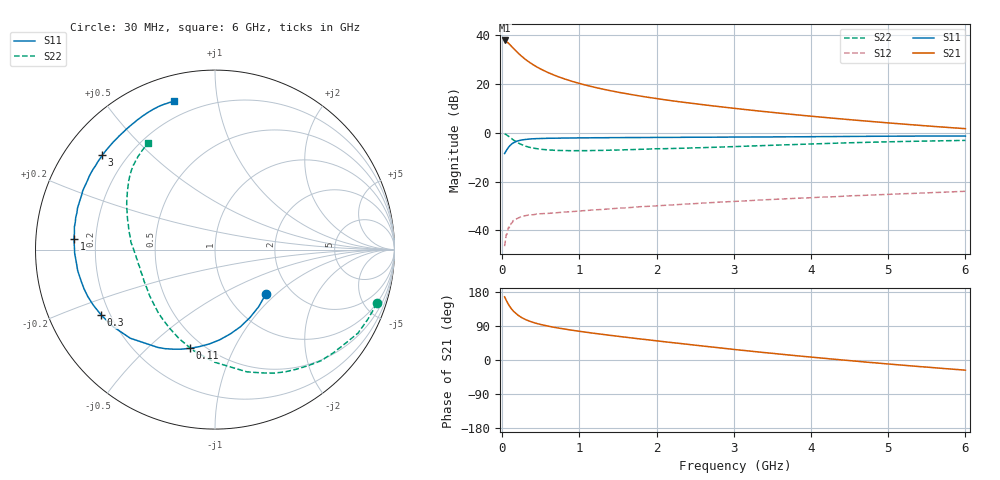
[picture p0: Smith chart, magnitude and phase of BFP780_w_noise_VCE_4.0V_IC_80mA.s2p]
! Infineon Technologies  Discrete & RF Semiconductors
! BFP780
! VCE =  4.0 V,  IC =  80 mA
! Common Emitter S-Parameters:  Jul 2015
# GHz  S  MA  R  50
!  f  S11  S21  S12  S22
! GHz  MAG  ANG  MAG  ANG  MAG  ANG  MAG  ANG
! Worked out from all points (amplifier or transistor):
!   75 points, 30 MHz to 6 GHz, reference 50 ohm
!   highest |S21| = 38.0 dB at 30 MHz (marker M1)
!   |S21| within 3 dB of that: start of sweep to 136.5 MHz
!   unconditionally stable (mu >= 1): 1.762 GHz to end of sweep
!   at 150 MHz: K = 0.17, MSG = 35.2 dB, |S12| = -35.9 dB
!   at 2.3 GHz: K = 1.12, MAG = 19.0 dB, |S12| = -29.4 dB
!   at 6 GHz: K = 1.22, MAG = 10.0 dB, |S12| = -24.0 dB
!   lowest NFmin = 1.80 dB at 450 MHz
!   S11 on the Smith chart (normalised r, x): 30 MHz: 1.49, -0.86; 110 MHz: 0.42, -0.69; 300 MHz: 0.17, -0.26; 1 GHz: 0.12, +0.04; 3 GHz: 0.11, +0.36; 6 GHz: 0.12, +0.75
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0.03  0.3766 -41.3  79.02 166.7  0.0047 77.1  0.9511 -18.3
0.05  0.4258 -62.8  75.72 157.9  0.0081 67.9  0.9225 -30.3
0.07  0.4767 -79.5  71.49 150.3  0.0096 62.8  0.8749 -41.1
0.09  0.5257 -93.2  66.74 143.4  0.0112 56.2  0.8298 -51.1
0.11  0.5675 -104.2  61.93 137.4  0.0132 50.0  0.785 -60.2
0.15  0.6312 -120.3  53.17 127.7  0.0161 45.2  0.7038 -75.4
0.2  0.6831 -133.7  44.24 118.8  0.0176 38.8  0.6263 -90.5
0.25  0.7126 -143.1  37.52 112.0  0.0191 33.6  0.5738 -102.4
0.3  0.7316 -150.1  32.26 106.8  0.0199 30.3  0.5342 -112.1
0.4  0.7553 -159.7  25.04 99.2  0.0208 27.9  0.4863 -126.6
0.5  0.7655 -166.3  20.36 93.6  0.0218 26.3  0.4599 -136.8
0.6  0.7739 -171.2  17.1 89.1  0.0222 25.1  0.4458 -144.8
0.8  0.7822 -178.6  12.9 81.9  0.0236 24.6  0.4327 -155.9
1  0.7887 175.7  10.33 75.7  0.0248 25.9  0.431 -163.7
1.1  0.7885 173.3  9.373 72.9  0.0255 26.2  0.4308 -167.0
1.5  0.7963 165.0  6.841 62.6  0.0283 27.8  0.4437 -176.4
2.1  0.8067 154.5  4.796 48.2  0.0324 28.7  0.4724 173.6
3  0.819 140.1  3.198 27.9  0.039 28.0  0.5216 159.4
3.1  0.8199 138.7  3.069 25.8  0.0397 27.9  0.5281 157.9
4.1  0.8352 124.8  2.126 5.8  0.0475 24.5  0.597 144.4
5.1  0.8545 113.6  1.556 -12.2  0.0554 20.1  0.659 132.7
6  0.8581 105.5  1.218 -26.8  0.063 14.8  0.6997 122.3
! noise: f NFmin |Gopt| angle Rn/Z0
0.45  1.8  0.49  -179  0.07
0.9  1.86  0.51  -168  0.08
1.5  1.9  0.53  -160  0.1
1.8  2.09  0.54  -153  0.11
2.4  2.21  0.55  -145  0.16
3  2.48  0.57  -136  0.23
3.5  2.95  0.6  -123  0.36
